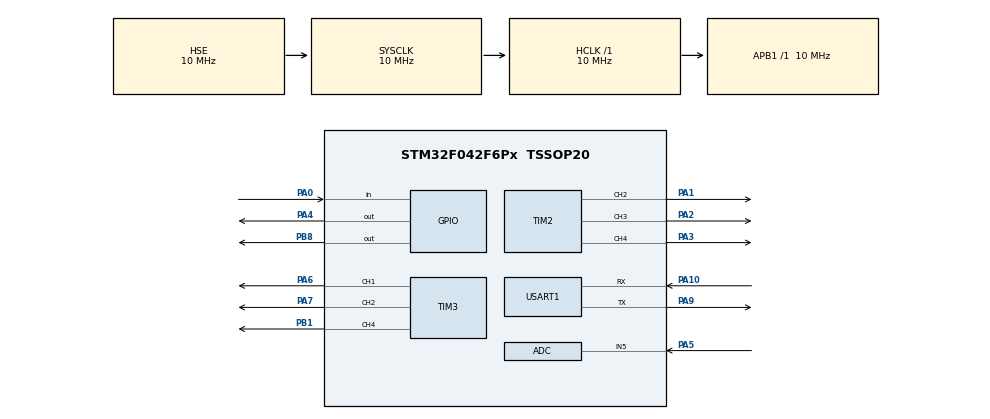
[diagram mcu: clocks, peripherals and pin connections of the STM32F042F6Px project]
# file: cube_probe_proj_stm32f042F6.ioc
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ADC.ClockPrescaler=ADC_CLOCK_ASYNC_DIV1
ADC.ContinuousConvMode=DISABLE
ADC.DMAContinuousRequests=DISABLE
ADC.DataAlign=ADC_DATAALIGN_RIGHT
ADC.DiscontinuousConvMode=DISABLE
ADC.EOCSelection=ADC_EOC_SINGLE_CONV
ADC.EnableAnalogWatchDog=false
ADC.ExternalTrigConv=ADC_SOFTWARE_START
ADC.ExternalTrigConvEdge=ADC_EXTERNALTRIGCONVEDGE_NONE
ADC.LowPowerAutoPowerOff=DISABLE
ADC.LowPowerAutoWait=DISABLE
ADC.Overrun=ADC_OVR_DATA_PRESERVED
ADC.Resolution=ADC_RESOLUTION_12B
ADC.SamplingTime=ADC_SAMPLETIME_13CYCLES_5
ADC.ScanConvMode=ADC_SCAN_DIRECTION_FORWARD
Mcu.Family=STM32F0
Mcu.Name=STM32F042F6Px
Mcu.Package=TSSOP20
NVIC.ADC1_IRQn=true\:0\:0\:false\:false\:true\:true
NVIC.TIM14_IRQn=true\:0\:0\:false\:false\:true\:true
NVIC.TIM1_BRK_UP_TRG_COM_IRQn=true\:0\:0\:false\:false\:true\:true
PA0.GPIO_PuPd=GPIO_PULLUP
PA0.Signal=GPIO_Input
PA1.Signal=S_TIM2_CH2
PA10.Mode=Asynchronous
PA10.Signal=USART1_RX
PA2.Signal=S_TIM2_CH3
PA3.Signal=S_TIM2_CH4
PA4.GPIO_PuPd=GPIO_PULLDOWN
PA4.Signal=GPIO_Output
PA5.Mode=IN5
PA5.Signal=ADC_IN5
PA6.GPIO_PuPd=GPIO_PULLDOWN
PA6.Signal=S_TIM3_CH1
PA7.GPIO_PuPd=GPIO_PULLDOWN
PA7.Signal=S_TIM3_CH2
PA9.Mode=Asynchronous
PA9.Signal=USART1_TX
PB1.GPIO_PuPd=GPIO_PULLDOWN
PB1.Signal=S_TIM3_CH4
PB8.GPIO_PuPd=GPIO_PULLDOWN
PB8.Signal=GPIO_Output
PF0-OSC_IN.Mode=HSE-External-Oscillator
PF0-OSC_IN.Signal=RCC_OSC_IN
PF1-OSC_OUT.Mode=HSE-External-Oscillator
PF1-OSC_OUT.Signal=RCC_OSC_OUT
ProjectManager.HeapSize=0x200
ProjectManager.StackSize=0x400
ProjectManager.TargetToolchain=TrueSTUDIO
RCC.AHBFreq_Value=10000000
RCC.APB1Freq_Value=10000000
RCC.APB1TimFreq_Value=10000000
RCC.HCLKFreq_Value=10000000
RCC.HSE_VALUE=10000000
RCC.PLLSourceVirtual=RCC_PLLSOURCE_HSE
RCC.SYSCLKFreq_VALUE=10000000
RCC.SYSCLKSource=RCC_SYSCLKSOURCE_HSE
SH.S_TIM2_CH2.0=TIM2_CH2,PWM Generation2 CH2
SH.S_TIM2_CH3.0=TIM2_CH3,PWM Generation3 CH3
SH.S_TIM2_CH4.0=TIM2_CH4,PWM Generation4 CH4
SH.S_TIM3_CH1.0=TIM3_CH1,PWM Generation1 CH1
SH.S_TIM3_CH2.0=TIM3_CH2,PWM Generation2 CH2
SH.S_TIM3_CH4.0=TIM3_CH4,PWM Generation4 CH4
TIM1.ClockDivision=TIM_CLOCKDIVISION_DIV2
TIM1.Period=10000
TIM1.Prescaler=10
TIM14.ClockDivision=TIM_CLOCKDIVISION_DIV2
TIM14.Period=32000
TIM14.Prescaler=10
TIM2.Channel-PWM\ Generation2\ CH2=TIM_CHANNEL_2
TIM2.Channel-PWM\ Generation3\ CH3=TIM_CHANNEL_3
TIM2.Channel-PWM\ Generation4\ CH4=TIM_CHANNEL_4
TIM3.Channel-PWM\ Generation1\ CH1=TIM_CHANNEL_1
TIM3.Channel-PWM\ Generation2\ CH2=TIM_CHANNEL_2
TIM3.Channel-PWM\ Generation4\ CH4=TIM_CHANNEL_4
USART1.VirtualMode=VM_ASYNC
VP_TIM14_VS_ClockSourceINT.Mode=Enable_Timer
VP_TIM1_VS_ClockSourceITR.Mode=TriggerSource_ITR3
VP_TIM1_VS_ControllerModeTrigger.Mode=Trigger Mode
board=custom

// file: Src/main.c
/**
  ******************************************************************************
  * @file           : main.c
  * @brief          : Main program body
  ******************************************************************************
  ** This notice applies to any and all portions of this file
  * that are not between comment pairs USER CODE BEGIN and
  * USER CODE END. Other portions of this file, whether
  * inserted by the user or by software development tools
  * are owned by their respective copyright owners.
  *
  * COPYRIGHT(c) 2018 STMicroelectronics
  *
  * Redistribution and use in source and binary forms, with or without modification,
  * are permitted provided that the following conditions are met:
  *   1. Redistributions of source code must retain the above copyright notice,
  *      this list of conditions and the following disclaimer.
  *   2. Redistributions in binary form must reproduce the above copyright notice,
  *      this list of conditions and the following disclaimer in the documentation
  *      and/or other materials provided with the distribution.
  *   3. Neither the name of STMicroelectronics nor the names of its contributors
  *      may be used to endorse or promote products derived from this software
  *      without specific prior written permission.
  *
  * THIS SOFTWARE IS PROVIDED BY THE COPYRIGHT HOLDERS AND CONTRIBUTORS "AS IS"
  * AND ANY EXPRESS OR IMPLIED WARRANTIES, INCLUDING, BUT NOT LIMITED TO, THE
  * IMPLIED WARRANTIES OF MERCHANTABILITY AND FITNESS FOR A PARTICULAR PURPOSE ARE
  * DISCLAIMED. IN NO EVENT SHALL THE COPYRIGHT HOLDER OR CONTRIBUTORS BE LIABLE
  * FOR ANY DIRECT, INDIRECT, INCIDENTAL, SPECIAL, EXEMPLARY, OR CONSEQUENTIAL
  * DAMAGES (INCLUDING, BUT NOT LIMITED TO, PROCUREMENT OF SUBSTITUTE GOODS OR
  * SERVICES; LOSS OF USE, DATA, OR PROFITS; OR BUSINESS INTERRUPTION) HOWEVER
  * CAUSED AND ON ANY THEORY OF LIABILITY, WHETHER IN CONTRACT, STRICT LIABILITY,
  * OR TORT (INCLUDING NEGLIGENCE OR OTHERWISE) ARISING IN ANY WAY OUT OF THE USE
  * OF THIS SOFTWARE, EVEN IF ADVISED OF THE POSSIBILITY OF SUCH DAMAGE.
  *
  ******************************************************************************
  */
#include "main.h"
#include "stm32f0xx_hal.h"

ADC_HandleTypeDef hadc;

TIM_HandleTypeDef htim1;
TIM_HandleTypeDef htim2;
TIM_HandleTypeDef htim3;
TIM_HandleTypeDef htim14;

UART_HandleTypeDef huart1;

/* USER CODE BEGIN PV */
/* Private variables ---------------------------------------------------------*/
void setPWM(TIM_HandleTypeDef timer, uint32_t channel, uint16_t period, uint16_t pulse);
/* USER CODE END PV */

void SystemClock_Config(void);
static void MX_GPIO_Init(void);
static void MX_ADC_Init(void);
static void MX_USART1_UART_Init(void);
static void MX_TIM3_Init(void);
static void MX_TIM1_Init(void);
static void MX_TIM14_Init(void);
static void MX_TIM2_Init(void);

void HAL_TIM_MspPostInit(TIM_HandleTypeDef *htim);

/* USER CODE BEGIN PFP */
/* Private function prototypes -----------------------------------------------*/

/* USER CODE END PFP */

/* USER CODE BEGIN 0 */
#define UART1_SEND_BYTE(data) HAL_UART_Transmit(&huart1, &data, 1, 10)
#define ENABLE_pin_SET 		HAL_GPIO_WritePin(GPIOB,GPIO_PIN_8, ENABLE)//PB8
#define ENABLE_pin_RESET 	HAL_GPIO_WritePin(GPIOB,GPIO_PIN_8, DISABLE)//PB8
#define LED_ON 				HAL_GPIO_WritePin(GPIOA,GPIO_PIN_4, ENABLE)//PA4
#define LED_OFF				HAL_GPIO_WritePin(GPIOA,GPIO_PIN_4, DISABLE)//PA4
/* USER CODE END 0 */

int main(void)
{

  /* MCU Configuration----------------------------------------------------------*/

  /* Reset of all peripherals, Initializes the Flash interface and the Systick. */
  HAL_Init();

  /* Configure the system clock */
  SystemClock_Config();

  /* Initialize all configured peripherals */
  MX_GPIO_Init();
  MX_ADC_Init();
  MX_USART1_UART_Init();
  MX_TIM3_Init();
  MX_TIM1_Init();
  MX_TIM14_Init();
  MX_TIM2_Init();
  /* USER CODE BEGIN 2 */
#define PWM_RESOLUTION 8200
#define HIN1(x) setPWM(htim3,TIM_CHANNEL_4,PWM_RESOLUTION, x) //UP_A
#define HIN2(x) setPWM(htim3,TIM_CHANNEL_2,PWM_RESOLUTION, x) //UP_B
#define HIN3(x) setPWM(htim3,TIM_CHANNEL_1,PWM_RESOLUTION, x) //UP_C

#define LIN1(x) setPWM(htim2,TIM_CHANNEL_4,PWM_RESOLUTION, x) //DOWN_A
#define LIN2(x) setPWM(htim2,TIM_CHANNEL_3,PWM_RESOLUTION, x) //DOWN_B
#define LIN3(x) setPWM(htim2,TIM_CHANNEL_2,PWM_RESOLUTION, x) //DOWN_C

#define DRIVE_PHASE_0(x) 	HIN1(PWM_RESOLUTION); LIN1(x);\
							HIN2(x); LIN2(PWM_RESOLUTION);\
							HIN3(PWM_RESOLUTION); LIN3(PWM_RESOLUTION);

#define DRIVE_PHASE_1(x) 	HIN1(PWM_RESOLUTION); LIN1(x);\
							HIN2(PWM_RESOLUTION); LIN2(PWM_RESOLUTION);\
							HIN3(x); LIN3(PWM_RESOLUTION);

#define DRIVE_PHASE_2(x) 	HIN1(PWM_RESOLUTION); LIN1(PWM_RESOLUTION);\
							HIN2(PWM_RESOLUTION); LIN2(x);\
							HIN3(x); LIN3(PWM_RESOLUTION);

#define DRIVE_PHASE_3(x) 	HIN1(x); LIN1(PWM_RESOLUTION);\
							HIN2(PWM_RESOLUTION); LIN2(x);\
							HIN3(PWM_RESOLUTION); LIN3(PWM_RESOLUTION);

#define DRIVE_PHASE_4(x) 	HIN1(x); LIN1(PWM_RESOLUTION);\
							HIN2(PWM_RESOLUTION); LIN2(PWM_RESOLUTION);\
							HIN3(PWM_RESOLUTION); LIN3(x);

#define DRIVE_PHASE_5(x) 	HIN1(PWM_RESOLUTION); LIN1(PWM_RESOLUTION);\
							HIN2(x); LIN2(PWM_RESOLUTION);\
							HIN3(PWM_RESOLUTION); LIN3(x);

#define DRIVE_PHASE_STOP	HIN1(PWM_RESOLUTION); LIN1(0);\
							HIN2(PWM_RESOLUTION); LIN2(0);\
							HIN3(PWM_RESOLUTION); LIN3(0);

ENABLE_pin_SET;

HAL_GPIO_WritePin(GPIOA, GPIO_PIN_1, GPIO_PIN_SET);
HAL_GPIO_WritePin(GPIOA, GPIO_PIN_2, GPIO_PIN_RESET);
HAL_GPIO_WritePin(GPIOA, GPIO_PIN_3, GPIO_PIN_SET);
 volatile uint16_t adc_val_current = 0, adc_val_prev = 1;
  /* USER CODE END 2 */

  /* Infinite loop */
  /* USER CODE BEGIN WHILE */

 HAL_TIM_Base_Start_IT(&htim1);
ENABLE_pin_RESET;
  while (1)
  {
	  if(HAL_GPIO_ReadPin(GPIOA, GPIO_PIN_0) == RESET)
		  HAL_GPIO_WritePin(GPIOA, GPIO_PIN_4, RESET);
	  else
		  HAL_GPIO_WritePin(GPIOA, GPIO_PIN_4, SET);
	  int i = 50000;
	  while(i--);
	if(HAL_ADC_PollForConversion(&hadc,100) == HAL_OK &&
			(adc_val_current = HAL_ADC_GetValue(&hadc)) != adc_val_prev){
		ENABLE_pin_SET;

		uint16_t pwm_out_val;

		pwm_out_val = PWM_RESOLUTION - adc_val_current*2;
		DRIVE_PHASE_0(pwm_out_val);
		ENABLE_pin_RESET;
		adc_val_prev = adc_val_current;
		adc_val_current = 0;

	}

  }

  /* USER CODE END WHILE */

}

void SystemClock_Config(void)
{

  RCC_OscInitTypeDef RCC_OscInitStruct;
  RCC_ClkInitTypeDef RCC_ClkInitStruct;
  RCC_PeriphCLKInitTypeDef PeriphClkInit;

    /**Initializes the CPU, AHB and APB busses clocks
    */
  RCC_OscInitStruct.OscillatorType = RCC_OSCILLATORTYPE_HSI14|RCC_OSCILLATORTYPE_HSE;
  RCC_OscInitStruct.HSEState = RCC_HSE_ON;
  RCC_OscInitStruct.HSI14State = RCC_HSI14_ON;
  RCC_OscInitStruct.HSI14CalibrationValue = 16;
  RCC_OscInitStruct.PLL.PLLState = RCC_PLL_NONE;
  if (HAL_RCC_OscConfig(&RCC_OscInitStruct) != HAL_OK)
  {
    _Error_Handler(__FILE__, __LINE__);
  }

    /**Initializes the CPU, AHB and APB busses clocks
    */
  RCC_ClkInitStruct.ClockType = RCC_CLOCKTYPE_HCLK|RCC_CLOCKTYPE_SYSCLK
                              |RCC_CLOCKTYPE_PCLK1;
  RCC_ClkInitStruct.SYSCLKSource = RCC_SYSCLKSOURCE_HSE;
  RCC_ClkInitStruct.AHBCLKDivider = RCC_SYSCLK_DIV1;
  RCC_ClkInitStruct.APB1CLKDivider = RCC_HCLK_DIV1;

  if (HAL_RCC_ClockConfig(&RCC_ClkInitStruct, FLASH_LATENCY_0) != HAL_OK)
  {
    _Error_Handler(__FILE__, __LINE__);
  }

  PeriphClkInit.PeriphClockSelection = RCC_PERIPHCLK_USART1;
  PeriphClkInit.Usart1ClockSelection = RCC_USART1CLKSOURCE_PCLK1;
  if (HAL_RCCEx_PeriphCLKConfig(&PeriphClkInit) != HAL_OK)
  {
    _Error_Handler(__FILE__, __LINE__);
  }

    /**Configure the Systick interrupt time
    */
  HAL_SYSTICK_Config(HAL_RCC_GetHCLKFreq()/1000);

    /**Configure the Systick
    */
  HAL_SYSTICK_CLKSourceConfig(SYSTICK_CLKSOURCE_HCLK);

  /* SysTick_IRQn interrupt configuration */
  HAL_NVIC_SetPriority(SysTick_IRQn, 0, 0);
}

/* ADC init function */
static void MX_ADC_Init(void)
{

  ADC_ChannelConfTypeDef sConfig;

    /**Configure the global features of the ADC (Clock, Resolution, Data Alignment and number of conversion)
    */
  hadc.Instance = ADC1;
  hadc.Init.ClockPrescaler = ADC_CLOCK_ASYNC_DIV1;
  hadc.Init.Resolution = ADC_RESOLUTION_12B;
  hadc.Init.DataAlign = ADC_DATAALIGN_RIGHT;
  hadc.Init.ScanConvMode = ADC_SCAN_DIRECTION_FORWARD;
  hadc.Init.EOCSelection = ADC_EOC_SINGLE_CONV;
  hadc.Init.LowPowerAutoWait = DISABLE;
  hadc.Init.LowPowerAutoPowerOff = DISABLE;
  hadc.Init.ContinuousConvMode = DISABLE;
  hadc.Init.DiscontinuousConvMode = DISABLE;
  hadc.Init.ExternalTrigConv = ADC_SOFTWARE_START;
  hadc.Init.ExternalTrigConvEdge = ADC_EXTERNALTRIGCONVEDGE_NONE;
  hadc.Init.DMAContinuousRequests = DISABLE;
  hadc.Init.Overrun = ADC_OVR_DATA_PRESERVED;
  if (HAL_ADC_Init(&hadc) != HAL_OK)
  {
    _Error_Handler(__FILE__, __LINE__);
  }

    /**Configure for the selected ADC regular channel to be converted.
    */
  sConfig.Channel = ADC_CHANNEL_5;
  sConfig.Rank = ADC_RANK_CHANNEL_NUMBER;
  sConfig.SamplingTime = ADC_SAMPLETIME_13CYCLES_5;
  if (HAL_ADC_ConfigChannel(&hadc, &sConfig) != HAL_OK)
  {
    _Error_Handler(__FILE__, __LINE__);
  }

}

/* TIM1 init function */
static void MX_TIM1_Init(void)
{

  TIM_SlaveConfigTypeDef sSlaveConfig;
  TIM_MasterConfigTypeDef sMasterConfig;

  htim1.Instance = TIM1;
  htim1.Init.Prescaler = 10;
  htim1.Init.CounterMode = TIM_COUNTERMODE_UP;
  htim1.Init.Period = 10000;
  htim1.Init.ClockDivision = TIM_CLOCKDIVISION_DIV2;
  htim1.Init.RepetitionCounter = 0;
  htim1.Init.AutoReloadPreload = TIM_AUTORELOAD_PRELOAD_DISABLE;
  if (HAL_TIM_Base_Init(&htim1) != HAL_OK)
  {
    _Error_Handler(__FILE__, __LINE__);
  }

  sSlaveConfig.SlaveMode = TIM_SLAVEMODE_TRIGGER;
  sSlaveConfig.InputTrigger = TIM_TS_ITR3;
  if (HAL_TIM_SlaveConfigSynchronization(&htim1, &sSlaveConfig) != HAL_OK)
  {
    _Error_Handler(__FILE__, __LINE__);
  }

  sMasterConfig.MasterOutputTrigger = TIM_TRGO_RESET;
  sMasterConfig.MasterSlaveMode = TIM_MASTERSLAVEMODE_DISABLE;
  if (HAL_TIMEx_MasterConfigSynchronization(&htim1, &sMasterConfig) != HAL_OK)
  {
    _Error_Handler(__FILE__, __LINE__);
  }

}

/* TIM2 init function */
static void MX_TIM2_Init(void)
{

  TIM_MasterConfigTypeDef sMasterConfig;
  TIM_OC_InitTypeDef sConfigOC;

  htim2.Instance = TIM2;
  htim2.Init.Prescaler = 0;
  htim2.Init.CounterMode = TIM_COUNTERMODE_UP;
  htim2.Init.Period = 0;
  htim2.Init.ClockDivision = TIM_CLOCKDIVISION_DIV1;
  htim2.Init.AutoReloadPreload = TIM_AUTORELOAD_PRELOAD_DISABLE;
  if (HAL_TIM_PWM_Init(&htim2) != HAL_OK)
  {
    _Error_Handler(__FILE__, __LINE__);
  }

  sMasterConfig.MasterOutputTrigger = TIM_TRGO_RESET;
  sMasterConfig.MasterSlaveMode = TIM_MASTERSLAVEMODE_DISABLE;
  if (HAL_TIMEx_MasterConfigSynchronization(&htim2, &sMasterConfig) != HAL_OK)
  {
    _Error_Handler(__FILE__, __LINE__);
  }

  sConfigOC.OCMode = TIM_OCMODE_PWM1;
  sConfigOC.Pulse = 0;
  sConfigOC.OCPolarity = TIM_OCPOLARITY_HIGH;
  sConfigOC.OCFastMode = TIM_OCFAST_DISABLE;
  if (HAL_TIM_PWM_ConfigChannel(&htim2, &sConfigOC, TIM_CHANNEL_2) != HAL_OK)
  {
    _Error_Handler(__FILE__, __LINE__);
  }

  if (HAL_TIM_PWM_ConfigChannel(&htim2, &sConfigOC, TIM_CHANNEL_3) != HAL_OK)
  {
    _Error_Handler(__FILE__, __LINE__);
  }

  if (HAL_TIM_PWM_ConfigChannel(&htim2, &sConfigOC, TIM_CHANNEL_4) != HAL_OK)
  {
    _Error_Handler(__FILE__, __LINE__);
  }

  HAL_TIM_MspPostInit(&htim2);

}

/* TIM3 init function */
static void MX_TIM3_Init(void)
{

  TIM_MasterConfigTypeDef sMasterConfig;
  TIM_OC_InitTypeDef sConfigOC;

  htim3.Instance = TIM3;
  htim3.Init.Prescaler = 0;
  htim3.Init.CounterMode = TIM_COUNTERMODE_UP;
  htim3.Init.Period = 0;
  htim3.Init.ClockDivision = TIM_CLOCKDIVISION_DIV1;
  htim3.Init.AutoReloadPreload = TIM_AUTORELOAD_PRELOAD_DISABLE;
  if (HAL_TIM_PWM_Init(&htim3) != HAL_OK)
  {
    _Error_Handler(__FILE__, __LINE__);
  }

  sMasterConfig.MasterOutputTrigger = TIM_TRGO_RESET;
  sMasterConfig.MasterSlaveMode = TIM_MASTERSLAVEMODE_DISABLE;
  if (HAL_TIMEx_MasterConfigSynchronization(&htim3, &sMasterConfig) != HAL_OK)
  {
    _Error_Handler(__FILE__, __LINE__);
  }

  sConfigOC.OCMode = TIM_OCMODE_PWM1;
  sConfigOC.Pulse = 0;
  sConfigOC.OCPolarity = TIM_OCPOLARITY_HIGH;
  sConfigOC.OCFastMode = TIM_OCFAST_DISABLE;
  if (HAL_TIM_PWM_ConfigChannel(&htim3, &sConfigOC, TIM_CHANNEL_1) != HAL_OK)
  {
    _Error_Handler(__FILE__, __LINE__);
  }

  if (HAL_TIM_PWM_ConfigChannel(&htim3, &sConfigOC, TIM_CHANNEL_2) != HAL_OK)
  {
    _Error_Handler(__FILE__, __LINE__);
  }

  if (HAL_TIM_PWM_ConfigChannel(&htim3, &sConfigOC, TIM_CHANNEL_4) != HAL_OK)
  {
    _Error_Handler(__FILE__, __LINE__);
  }

  HAL_TIM_MspPostInit(&htim3);

}

/* TIM14 init function */
static void MX_TIM14_Init(void)
{

  htim14.Instance = TIM14;
  htim14.Init.Prescaler = 10;
  htim14.Init.CounterMode = TIM_COUNTERMODE_UP;
  htim14.Init.Period = 32000;
  htim14.Init.ClockDivision = TIM_CLOCKDIVISION_DIV2;
  htim14.Init.AutoReloadPreload = TIM_AUTORELOAD_PRELOAD_DISABLE;
  if (HAL_TIM_Base_Init(&htim14) != HAL_OK)
  {
    _Error_Handler(__FILE__, __LINE__);
  }

}

/* USART1 init function */
static void MX_USART1_UART_Init(void)
{

  huart1.Instance = USART1;
  huart1.Init.BaudRate = 38400;
  huart1.Init.WordLength = UART_WORDLENGTH_8B;
  huart1.Init.StopBits = UART_STOPBITS_1;
  huart1.Init.Parity = UART_PARITY_NONE;
  huart1.Init.Mode = UART_MODE_TX_RX;
  huart1.Init.HwFlowCtl = UART_HWCONTROL_NONE;
  huart1.Init.OverSampling = UART_OVERSAMPLING_16;
  huart1.Init.OneBitSampling = UART_ONE_BIT_SAMPLE_DISABLE;
  huart1.AdvancedInit.AdvFeatureInit = UART_ADVFEATURE_NO_INIT;
  if (HAL_UART_Init(&huart1) != HAL_OK)
  {
    _Error_Handler(__FILE__, __LINE__);
  }

}

/** Configure pins as
        * Analog
        * Input
        * Output
        * EVENT_OUT
        * EXTI
*/
static void MX_GPIO_Init(void)
{

  GPIO_InitTypeDef GPIO_InitStruct;

  /* GPIO Ports Clock Enable */
  __HAL_RCC_GPIOB_CLK_ENABLE();
  __HAL_RCC_GPIOF_CLK_ENABLE();
  __HAL_RCC_GPIOA_CLK_ENABLE();

  /*Configure GPIO pin Output Level */
  HAL_GPIO_WritePin(GPIOB, GPIO_PIN_8, GPIO_PIN_RESET);

  /*Configure GPIO pin Output Level */
  HAL_GPIO_WritePin(GPIOA, GPIO_PIN_4, GPIO_PIN_RESET);

  /*Configure GPIO pin : PB8 */
  GPIO_InitStruct.Pin = GPIO_PIN_8;
  GPIO_InitStruct.Mode = GPIO_MODE_OUTPUT_PP;
  GPIO_InitStruct.Pull = GPIO_PULLDOWN;
  GPIO_InitStruct.Speed = GPIO_SPEED_FREQ_LOW;
  HAL_GPIO_Init(GPIOB, &GPIO_InitStruct);

  /*Configure GPIO pin : PA0 */
  GPIO_InitStruct.Pin = GPIO_PIN_0;
  GPIO_InitStruct.Mode = GPIO_MODE_INPUT;
  GPIO_InitStruct.Pull = GPIO_PULLUP;
  HAL_GPIO_Init(GPIOA, &GPIO_InitStruct);

  /*Configure GPIO pin : PA4 */
  GPIO_InitStruct.Pin = GPIO_PIN_4;
  GPIO_InitStruct.Mode = GPIO_MODE_OUTPUT_PP;
  GPIO_InitStruct.Pull = GPIO_PULLDOWN;
  GPIO_InitStruct.Speed = GPIO_SPEED_FREQ_LOW;
  HAL_GPIO_Init(GPIOA, &GPIO_InitStruct);

}

/* USER CODE BEGIN 4 */
void setPWM(TIM_HandleTypeDef timer, uint32_t channel, uint16_t period, uint16_t pulse)
{
 HAL_TIM_PWM_Stop(&timer, channel); // stop generation of pwm
 TIM_OC_InitTypeDef sConfigOC;
 timer.Init.Period = period; // set the period duration
 HAL_TIM_PWM_Init(&timer); // reinititialise with new period value
 sConfigOC.OCMode = TIM_OCMODE_PWM1;
 sConfigOC.Pulse = pulse; // set the pulse duration
 sConfigOC.OCPolarity = TIM_OCPOLARITY_HIGH;
 sConfigOC.OCFastMode = TIM_OCFAST_DISABLE;
 HAL_TIM_PWM_ConfigChannel(&timer, &sConfigOC, channel);
 HAL_TIM_PWM_Start(&timer, channel); // start pwm generation
}
/* USER CODE END 4 */

void _Error_Handler(char *file, int line)
{
  while(1)
  {
  }
}

/************************ (C) COPYRIGHT STMicroelectronics *****END OF FILE****/
